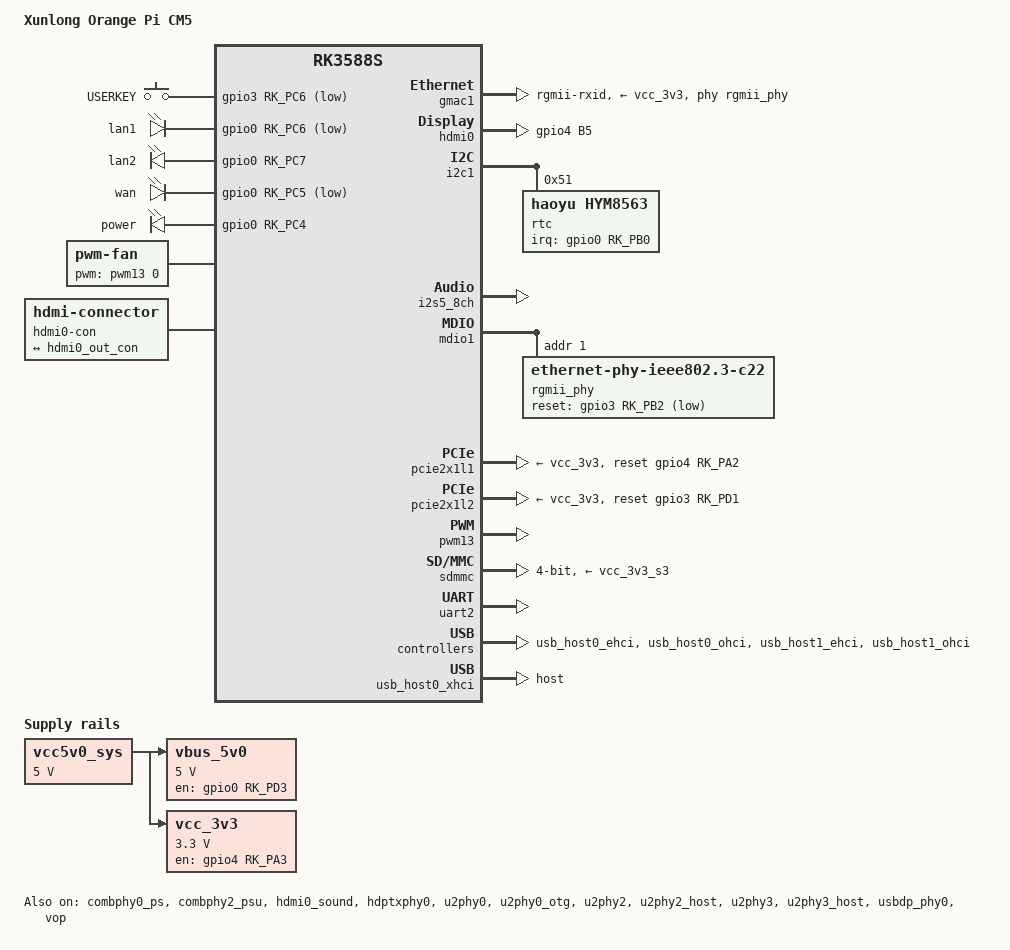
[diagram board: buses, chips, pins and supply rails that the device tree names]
// SPDX-License-Identifier: (GPL-2.0+ OR MIT)

/*
 * Carrier board device tree for the Orange Pi CM5, derived from the upstream
 * "rk3588s-orangepi-cm5-base.dts" but corrected against a real dtb dumped
 * ("dtc -I dtb -O dts") off a booted vendor BSP image (compatible string
 * "rockchip,rk3588s-orangepi-cm5", model "RK3588S OPi CM5") running on the
 * reporter's actual carrier board. That vendor dtb differs from the upstream
 * "-base" board in a few concrete, carrier-specific ways:
 *
 *  - Ethernet PHY reset is wired to GPIO3_B2 (active-low), not GPIO1_C1.
 *  - phy-mode is "rgmii-rxid" with an explicit tx_delay, not "rgmii-id".
 *  - A second USB2 host controller (u2phy3 / usb_host1) is wired up and
 *    enabled, in addition to the one the upstream "-base" board declares.
 *  - The USB-C/USB3 controller is forced to `dr_mode = "host"`. The vendor
 *    dtb actually has it in "otg" mode with `extcon = <&u2phy0>` (the PHY's
 *    own VBUS/ID comparators driving role switching), and that was tried
 *    here first, but on the reporter's actual hardware the port still
 *    never came up (not even at USB2 speed) -- forcing "host" like the
 *    upstream "-base" board does is what actually works.
 *  - Status LEDs are plain gpio-leds (lan1/lan2/wan/power on GPIO0), not
 *    pwm-leds. Unlike the vendor dtb (which defaults lan1/lan2/wan to "on"
 *    at boot, presumably corrected later by vendor userspace this image
 *    doesn't have), they default to "off" here so they don't fake a link
 *    with nothing plugged in; nothing here ties them to actual link state.
 *  - A PWM-driven fan is present and enabled.
 *
 * This points at a board with 3 Ethernet ports (1x RGMII "wan" via gmac1,
 * 2x PCIe 2.5GbE "lan1"/"lan2" via pcie2x1l1/pcie2x1l2), matching what the
 * upstream "-base" board also wires up for its 2x 2.5GbE ports -- those
 * pcie2x1l1/pcie2x1l2 reset-gpios (GPIO4_A2 / GPIO3_D1) and the gpio-keys
 * button (GPIO3_C6) already matched the vendor dtb exactly and are kept
 * as-is from the upstream board file.
 *
 * Camera (4x MIPI-CSI) and audio nodes present in the vendor dtb are not
 * ported here; only the I/O reported broken (Ethernet, SD card -- fixed
 * indirectly by using the CM5's own device tree instead of the Orange Pi
 * 5's -- plus USB and status LEDs/fan found while cross-checking) is
 * addressed.
 */

/dts-v1/;

#include <dt-bindings/gpio/gpio.h>
#include <dt-bindings/input/input.h>
#include <dt-bindings/interrupt-controller/irq.h>
#include <dt-bindings/leds/common.h>
#include <dt-bindings/pinctrl/rockchip.h>
#include <dt-bindings/pwm/pwm.h>
#include <dt-bindings/soc/rockchip,vop2.h>

#include "rk3588s-orangepi-cm5.dtsi"

/ {
	model = "Xunlong Orange Pi CM5";
	compatible = "xunlong,orangepi-cm5-carrier", "xunlong,orangepi-cm5", "rockchip,rk3588s";

	aliases {
		ethernet0 = &gmac1;
		mmc1 = &sdmmc;
	};

	chosen {
		stdout-path = "serial2:1500000n8";
	};

	gpio-keys {
		compatible = "gpio-keys";
		pinctrl-names = "default";
		pinctrl-0 = <&key1_pin>;

		button {
			debounce-interval = <50>;
			gpios = <&gpio3 RK_PC6 GPIO_ACTIVE_LOW>;
			label = "USERKEY";
			linux,code = <BTN_MISC>;
			wakeup-source;
		};
	};

	gpio-leds {
		compatible = "gpio-leds";
		pinctrl-names = "default";
		pinctrl-0 = <&leds_pin>;

		led-lan1 {
			gpios = <&gpio0 RK_PC6 GPIO_ACTIVE_LOW>;
			label = "lan1";
			default-state = "off";
		};

		led-lan2 {
			gpios = <&gpio0 RK_PC7 GPIO_ACTIVE_HIGH>;
			label = "lan2";
			default-state = "off";
		};

		led-wan {
			gpios = <&gpio0 RK_PC5 GPIO_ACTIVE_LOW>;
			label = "wan";
			default-state = "off";
		};

		led-power {
			gpios = <&gpio0 RK_PC4 GPIO_ACTIVE_HIGH>;
			label = "power";
			default-state = "off";
		};
	};

	pwm-fan {
		compatible = "pwm-fan";
		#cooling-cells = <2>;
		pwms = <&pwm13 0 20000000 0>;
		cooling-levels = <0 50 100 150 200 255>;
		rockchip,temp-trips = <50000 1
					55000 2
					60000 3
					65000 4
					70000 5>;
	};

	hdmi0-con {
		compatible = "hdmi-connector";
		type = "a";

		port {
			hdmi0_con_in: endpoint {
				remote-endpoint = <&hdmi0_out_con>;
			};
		};
	};

	vbus_5v0: regulator-vbus-5v0 {
		compatible = "regulator-fixed";
		enable-active-high;
		gpio = <&gpio0 RK_PD3 GPIO_ACTIVE_HIGH>;
		pinctrl-names = "default";
		pinctrl-0 = <&vbus_5v0_en_pin>;
		regulator-name = "vbus_5v0";
		regulator-min-microvolt = <5000000>;
		regulator-max-microvolt = <5000000>;
		vin-supply = <&vcc5v0_sys>;
	};

	vcc_3v3: regulator-vcc-3v3 {
		compatible = "regulator-fixed";
		enable-active-high;
		gpio = <&gpio4 RK_PA3 GPIO_ACTIVE_HIGH>;
		pinctrl-names = "default";
		pinctrl-0 = <&vcc_3v3_en_pin>;
		regulator-name = "vcc_3v3";
		regulator-min-microvolt = <3300000>;
		regulator-max-microvolt = <3300000>;
		startup-delay-us = <50000>;
		vin-supply = <&vcc5v0_sys>;
	};

	vcc5v0_sys: regulator-vcc-5v0 {
		compatible = "regulator-fixed";
		regulator-name = "vcc5v0_sys";
		regulator-always-on;
		regulator-boot-on;
		regulator-min-microvolt = <5000000>;
		regulator-max-microvolt = <5000000>;
	};
};

&combphy0_ps {
	status = "okay";
};

&combphy2_psu {
	status = "okay";
};

&gmac1 {
	clock_in_out = "output";
	phy-handle = <&rgmii_phy>;
	phy-mode = "rgmii-rxid";
	phy-supply = <&vcc_3v3>;
	tx_delay = <0x42>;
	pinctrl-names = "default";
	pinctrl-0 = <&gmac1_miim
		     &gmac1_rx_bus2
		     &gmac1_tx_bus2
		     &gmac1_rgmii_clk
		     &gmac1_rgmii_bus>;
	status = "okay";
};

&hdmi0 {
	frl-enable-gpios = <&gpio4 RK_PB5 GPIO_ACTIVE_LOW>;
	pinctrl-0 = <&hdmim0_tx0_cec &hdmim0_tx0_hpd
		     &hdmim0_tx0_scl &hdmim0_tx0_sda
		     &hdmi0_tx_on_h>;
	pinctrl-names = "default";
	status = "okay";
};

&hdmi0_in {
	hdmi0_in_vp0: endpoint {
		remote-endpoint = <&vp0_out_hdmi0>;
	};
};

&hdmi0_out {
	hdmi0_out_con: endpoint {
		remote-endpoint = <&hdmi0_con_in>;
	};
};

&hdmi0_sound {
	status = "okay";
};

&hdptxphy0 {
	status = "okay";
};

&i2c1 {
	pinctrl-0 = <&i2c1m2_xfer>;
	pinctrl-names = "default";
	status = "okay";

	rtc@51 {
		compatible = "haoyu,hym8563";
		reg = <0x51>;
		#clock-cells = <0>;
		clock-output-names = "hym8563";
		interrupt-parent = <&gpio0>;
		interrupts = <RK_PB0 IRQ_TYPE_LEVEL_LOW>;
		pinctrl-names = "default";
		pinctrl-0 = <&rtc_int_pin>;
		wakeup-source;
	};
};

&i2s5_8ch {
	status = "okay";
};

&mdio1 {
	rgmii_phy: ethernet-phy@1 {
		/* YT8531C */
		compatible = "ethernet-phy-ieee802.3-c22";
		reg = <0x1>;
		pinctrl-names = "default";
		pinctrl-0 = <&rgmii_phy_pin>;
		reset-assert-us = <20000>;
		reset-deassert-us = <100000>;
		reset-gpios = <&gpio3 RK_PB2 GPIO_ACTIVE_LOW>;
	};
};

&pcie2x1l1 {
	reset-gpios = <&gpio4 RK_PA2 GPIO_ACTIVE_HIGH>;
	vpcie3v3-supply = <&vcc_3v3>;
	status = "okay";
};

&pcie2x1l2 {
	reset-gpios = <&gpio3 RK_PD1 GPIO_ACTIVE_HIGH>;
	vpcie3v3-supply = <&vcc_3v3>;
	status = "okay";
};

&pinctrl {
	camera {
		cam1_reset_pin: cam1-reset-pin {
			rockchip,pins = <1 RK_PD0 RK_FUNC_GPIO &pcfg_pull_none>;
		};
		cam2_reset_pin: cam2-reset-pin {
			rockchip,pins = <1 RK_PD1 RK_FUNC_GPIO &pcfg_pull_none>;
		};
		cam3_reset_pin: cam3-reset-pin {
			rockchip,pins = <1 RK_PD2 RK_FUNC_GPIO &pcfg_pull_none>;
		};
		cam4_reset_pin: cam4-reset-pin {
			rockchip,pins = <1 RK_PD3 RK_FUNC_GPIO &pcfg_pull_none>;
		};
	};

	ethernet {
		rgmii_phy_pin: rgmii-phy-pin {
			rockchip,pins = <3 RK_PB2 RK_FUNC_GPIO &pcfg_pull_none>;
		};
	};

	gpio-key {
		key1_pin: key1-pin {
			rockchip,pins = <3 RK_PC6 RK_FUNC_GPIO &pcfg_pull_up>;
		};
	};

	hdmi {
		hdmi0_tx_on_h: hdmi0-tx-on-h {
			rockchip,pins = <4 RK_PB5 RK_FUNC_GPIO &pcfg_pull_none>;
		};
	};

	leds {
		leds_pin: leds-pin {
			rockchip,pins = <0 RK_PC4 RK_FUNC_GPIO &pcfg_pull_none>,
					 <0 RK_PC5 RK_FUNC_GPIO &pcfg_pull_none>,
					 <0 RK_PC6 RK_FUNC_GPIO &pcfg_pull_none>,
					 <0 RK_PC7 RK_FUNC_GPIO &pcfg_pull_none>;
		};
	};

	power {
		vcc_3v3_en_pin: vcc-3v3-en-pin {
			rockchip,pins = <4 RK_PA3 RK_FUNC_GPIO &pcfg_pull_down>;
		};
	};

	rtc {
		rtc_int_pin: rtc-int-pin {
			rockchip,pins = <0 RK_PB0 RK_FUNC_GPIO &pcfg_pull_none>;
		};
	};

	usb {
		vbus_5v0_en_pin: vbus-5v0-en-pin {
			rockchip,pins = <0 RK_PD3 RK_FUNC_GPIO &pcfg_pull_none>;
		};
	};
};

&pwm13 {
	status = "okay";
};

&sdmmc {
	bus-width = <4>;
	cap-sd-highspeed;
	disable-wp;
	max-frequency = <150000000>;
	no-mmc;
	no-sdio;
	sd-uhs-sdr104;
	vmmc-supply = <&vcc_3v3_s3>;
	vqmmc-supply = <&vccio_sd_s0>;
	status = "okay";
};

&u2phy0 {
	status = "okay";
};

&u2phy0_otg {
	phy-supply = <&vbus_5v0>;
	status = "okay";
};

&u2phy2 {
	status = "okay";
};

&u2phy2_host {
	phy-supply = <&vbus_5v0>;
	status = "okay";
};

&u2phy3 {
	status = "okay";
};

&u2phy3_host {
	phy-supply = <&vbus_5v0>;
	status = "okay";
};

&uart2 {
	pinctrl-0 = <&uart2m0_xfer>;
	pinctrl-names = "default";
	status = "okay";
};

&usb_host0_ehci {
	status = "okay";
};

&usb_host0_ohci {
	status = "okay";
};

&usb_host0_xhci {
	dr_mode = "host"; /* forced host: "otg" (matching the vendor dtb, incl. its extcon) didn't come up on real hardware */
	status = "okay";
};

&usb_host1_ehci {
	status = "okay";
};

&usb_host1_ohci {
	status = "okay";
};

&usbdp_phy0 {
	status = "okay";
};

&vop {
	status = "okay";
};

&vop_mmu {
	status = "okay";
};

&vp0 {
	vp0_out_hdmi0: endpoint@ROCKCHIP_VOP2_EP_HDMI0 {
		reg = <ROCKCHIP_VOP2_EP_HDMI0>;
		remote-endpoint = <&hdmi0_in_vp0>;
	};
};
